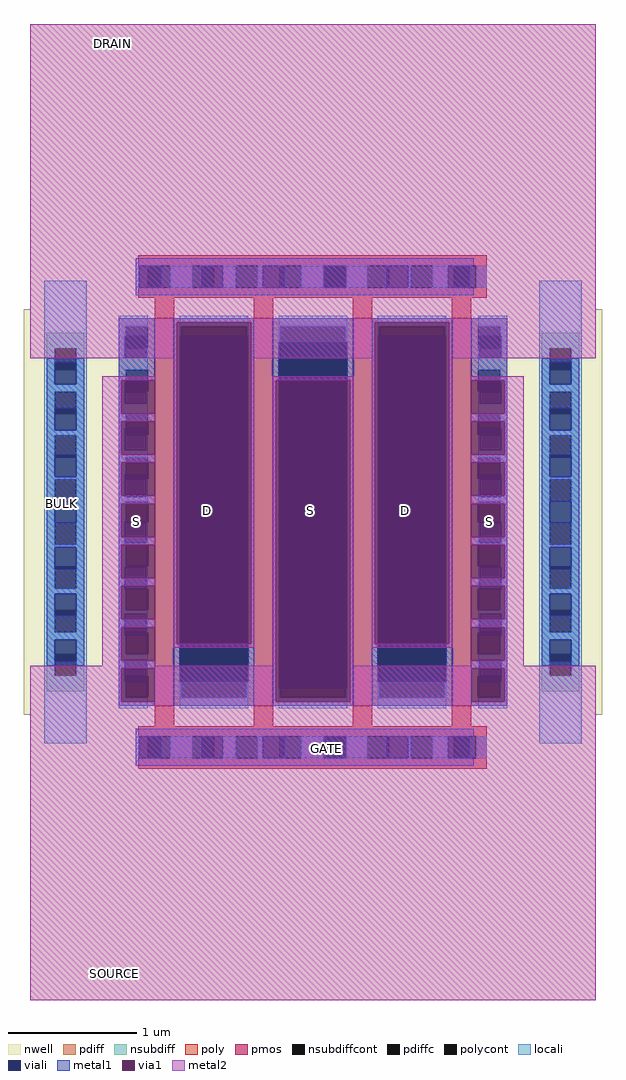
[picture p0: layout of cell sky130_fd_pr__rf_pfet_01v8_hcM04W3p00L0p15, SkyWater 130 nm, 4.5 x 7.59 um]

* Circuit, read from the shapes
.subckt sky130_fd_pr__rf_pfet_01v8_hcM04W3p00L0p15 BULK DRAIN GATE SOURCE
XM1 DRAIN GATE SOURCE BULK sky130_fd_pr__pfet_01v8 w=3.01 l=0.15 m=4
.ends

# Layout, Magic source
magic
tech sky130A
magscale 1 2
<< nwell >>
rect 0 1074 880 1518
rect -10 444 890 1074
rect 0 0 880 444
<< pmos >>
rect 194 458 224 1060
rect 348 458 378 1060
rect 502 458 532 1060
rect 656 458 686 1060
<< pdiff >>
rect 138 1048 194 1060
rect 138 1014 149 1048
rect 183 1014 194 1048
rect 138 980 194 1014
rect 138 946 149 980
rect 183 946 194 980
rect 138 912 194 946
rect 138 878 149 912
rect 183 878 194 912
rect 138 844 194 878
rect 138 810 149 844
rect 183 810 194 844
rect 138 776 194 810
rect 138 742 149 776
rect 183 742 194 776
rect 138 708 194 742
rect 138 674 149 708
rect 183 674 194 708
rect 138 640 194 674
rect 138 606 149 640
rect 183 606 194 640
rect 138 572 194 606
rect 138 538 149 572
rect 183 538 194 572
rect 138 504 194 538
rect 138 470 149 504
rect 183 470 194 504
rect 138 458 194 470
rect 224 1048 348 1060
rect 224 470 235 1048
rect 337 470 348 1048
rect 224 458 348 470
rect 378 1048 502 1060
rect 378 470 389 1048
rect 491 470 502 1048
rect 378 458 502 470
rect 532 1048 656 1060
rect 532 470 543 1048
rect 645 470 656 1048
rect 532 458 656 470
rect 686 1048 742 1060
rect 686 1014 697 1048
rect 731 1014 742 1048
rect 686 980 742 1014
rect 686 946 697 980
rect 731 946 742 980
rect 686 912 742 946
rect 686 878 697 912
rect 731 878 742 912
rect 686 844 742 878
rect 686 810 697 844
rect 731 810 742 844
rect 686 776 742 810
rect 686 742 697 776
rect 731 742 742 776
rect 686 708 742 742
rect 686 674 697 708
rect 731 674 742 708
rect 686 640 742 674
rect 686 606 697 640
rect 731 606 742 640
rect 686 572 742 606
rect 686 538 697 572
rect 731 538 742 572
rect 686 504 742 538
rect 686 470 697 504
rect 731 470 742 504
rect 686 458 742 470
<< pdiffc >>
rect 149 1014 183 1048
rect 149 946 183 980
rect 149 878 183 912
rect 149 810 183 844
rect 149 742 183 776
rect 149 674 183 708
rect 149 606 183 640
rect 149 538 183 572
rect 149 470 183 504
rect 235 470 337 1048
rect 389 470 491 1048
rect 543 470 645 1048
rect 697 1014 731 1048
rect 697 946 731 980
rect 697 878 731 912
rect 697 810 731 844
rect 697 742 731 776
rect 697 674 731 708
rect 697 606 731 640
rect 697 538 731 572
rect 697 470 731 504
<< nsubdiff >>
rect 26 1014 84 1038
rect 26 980 38 1014
rect 72 980 84 1014
rect 26 946 84 980
rect 26 912 38 946
rect 72 912 84 946
rect 26 878 84 912
rect 26 844 38 878
rect 72 844 84 878
rect 26 810 84 844
rect 26 776 38 810
rect 72 776 84 810
rect 26 742 84 776
rect 26 708 38 742
rect 72 708 84 742
rect 26 674 84 708
rect 26 640 38 674
rect 72 640 84 674
rect 26 606 84 640
rect 26 572 38 606
rect 72 572 84 606
rect 26 538 84 572
rect 26 504 38 538
rect 72 504 84 538
rect 26 480 84 504
rect 796 1014 854 1038
rect 796 980 808 1014
rect 842 980 854 1014
rect 796 946 854 980
rect 796 912 808 946
rect 842 912 854 946
rect 796 878 854 912
rect 796 844 808 878
rect 842 844 854 878
rect 796 810 854 844
rect 796 776 808 810
rect 842 776 854 810
rect 796 742 854 776
rect 796 708 808 742
rect 842 708 854 742
rect 796 674 854 708
rect 796 640 808 674
rect 842 640 854 674
rect 796 606 854 640
rect 796 572 808 606
rect 842 572 854 606
rect 796 538 854 572
rect 796 504 808 538
rect 842 504 854 538
rect 796 480 854 504
<< nsubdiffcont >>
rect 38 980 72 1014
rect 38 912 72 946
rect 38 844 72 878
rect 38 776 72 810
rect 38 708 72 742
rect 38 640 72 674
rect 38 572 72 606
rect 38 504 72 538
rect 808 980 842 1014
rect 808 912 842 946
rect 808 844 842 878
rect 808 776 842 810
rect 808 708 842 742
rect 808 640 842 674
rect 808 572 842 606
rect 808 504 842 538
<< poly >>
rect 168 1142 710 1158
rect 168 1108 184 1142
rect 218 1108 252 1142
rect 286 1108 320 1142
rect 354 1108 388 1142
rect 422 1108 456 1142
rect 490 1108 524 1142
rect 558 1108 592 1142
rect 626 1108 660 1142
rect 694 1108 710 1142
rect 168 1092 710 1108
rect 194 1060 224 1092
rect 348 1060 378 1092
rect 502 1060 532 1092
rect 656 1060 686 1092
rect 194 426 224 458
rect 348 426 378 458
rect 502 426 532 458
rect 656 426 686 458
rect 168 410 710 426
rect 168 376 184 410
rect 218 376 252 410
rect 286 376 320 410
rect 354 376 388 410
rect 422 376 456 410
rect 490 376 524 410
rect 558 376 592 410
rect 626 376 660 410
rect 694 376 710 410
rect 168 360 710 376
<< polycont >>
rect 184 1108 218 1142
rect 252 1108 286 1142
rect 320 1108 354 1142
rect 388 1108 422 1142
rect 456 1108 490 1142
rect 524 1108 558 1142
rect 592 1108 626 1142
rect 660 1108 694 1142
rect 184 376 218 410
rect 252 376 286 410
rect 320 376 354 410
rect 388 376 422 410
rect 456 376 490 410
rect 524 376 558 410
rect 592 376 626 410
rect 660 376 694 410
<< locali >>
rect 22 1014 88 1119
rect 168 1108 170 1142
rect 218 1108 252 1142
rect 300 1108 320 1142
rect 354 1108 362 1142
rect 422 1108 456 1142
rect 492 1108 524 1142
rect 588 1108 592 1142
rect 626 1108 650 1142
rect 694 1108 710 1142
rect 22 958 38 1014
rect 72 958 88 1014
rect 22 946 88 958
rect 22 886 38 946
rect 72 886 88 946
rect 22 878 88 886
rect 22 814 38 878
rect 72 814 88 878
rect 22 810 88 814
rect 22 708 38 810
rect 72 708 88 810
rect 22 704 88 708
rect 22 640 38 704
rect 72 640 88 704
rect 22 632 88 640
rect 22 572 38 632
rect 72 572 88 632
rect 22 560 88 572
rect 22 504 38 560
rect 72 504 88 560
rect 22 399 88 504
rect 138 1048 183 1064
rect 138 1033 149 1048
rect 138 999 147 1033
rect 181 999 183 1014
rect 138 980 183 999
rect 138 961 149 980
rect 138 927 147 961
rect 181 927 183 946
rect 138 912 183 927
rect 138 889 149 912
rect 138 855 147 889
rect 181 855 183 878
rect 138 844 183 855
rect 138 817 149 844
rect 138 783 147 817
rect 181 783 183 810
rect 138 776 183 783
rect 138 745 149 776
rect 138 711 147 745
rect 181 711 183 742
rect 138 708 183 711
rect 138 674 149 708
rect 138 673 183 674
rect 138 639 147 673
rect 181 640 183 673
rect 138 606 149 639
rect 138 601 183 606
rect 138 567 147 601
rect 181 572 183 601
rect 138 538 149 567
rect 138 529 183 538
rect 138 495 147 529
rect 181 504 183 529
rect 138 470 149 495
rect 138 454 183 470
rect 233 1048 339 1064
rect 233 1033 235 1048
rect 337 1033 339 1048
rect 233 470 235 495
rect 337 470 339 495
rect 233 454 339 470
rect 387 1048 493 1064
rect 387 1023 389 1048
rect 491 1023 493 1048
rect 387 470 389 485
rect 491 470 493 485
rect 387 454 493 470
rect 541 1048 647 1064
rect 541 1033 543 1048
rect 645 1033 647 1048
rect 541 470 543 495
rect 645 470 647 495
rect 541 454 647 470
rect 697 1048 742 1064
rect 731 1033 742 1048
rect 697 999 699 1014
rect 733 999 742 1033
rect 697 980 742 999
rect 731 961 742 980
rect 697 927 699 946
rect 733 927 742 961
rect 697 912 742 927
rect 731 889 742 912
rect 697 855 699 878
rect 733 855 742 889
rect 697 844 742 855
rect 731 817 742 844
rect 697 783 699 810
rect 733 783 742 817
rect 697 776 742 783
rect 731 745 742 776
rect 697 711 699 742
rect 733 711 742 745
rect 697 708 742 711
rect 731 674 742 708
rect 697 673 742 674
rect 697 640 699 673
rect 733 639 742 673
rect 731 606 742 639
rect 697 601 742 606
rect 697 572 699 601
rect 733 567 742 601
rect 731 538 742 567
rect 697 529 742 538
rect 697 504 699 529
rect 733 495 742 529
rect 731 470 742 495
rect 697 454 742 470
rect 792 1014 858 1119
rect 792 958 808 1014
rect 842 958 858 1014
rect 792 946 858 958
rect 792 886 808 946
rect 842 886 858 946
rect 792 878 858 886
rect 792 814 808 878
rect 842 814 858 878
rect 792 810 858 814
rect 792 708 808 810
rect 842 708 858 810
rect 792 704 858 708
rect 792 640 808 704
rect 842 640 858 704
rect 792 632 858 640
rect 792 572 808 632
rect 842 572 858 632
rect 792 560 858 572
rect 792 504 808 560
rect 842 504 858 560
rect 168 376 170 410
rect 218 376 252 410
rect 300 376 320 410
rect 354 376 362 410
rect 422 376 456 410
rect 492 376 524 410
rect 588 376 592 410
rect 626 376 650 410
rect 694 376 710 410
rect 792 399 858 504
<< viali >>
rect 170 1108 184 1142
rect 184 1108 204 1142
rect 266 1108 286 1142
rect 286 1108 300 1142
rect 362 1108 388 1142
rect 388 1108 396 1142
rect 458 1108 490 1142
rect 490 1108 492 1142
rect 554 1108 558 1142
rect 558 1108 588 1142
rect 650 1108 660 1142
rect 660 1108 684 1142
rect 38 980 72 992
rect 38 958 72 980
rect 38 912 72 920
rect 38 886 72 912
rect 38 844 72 848
rect 38 814 72 844
rect 38 742 72 776
rect 38 674 72 704
rect 38 670 72 674
rect 38 606 72 632
rect 38 598 72 606
rect 38 538 72 560
rect 38 526 72 538
rect 147 1014 149 1033
rect 149 1014 181 1033
rect 147 999 181 1014
rect 147 946 149 961
rect 149 946 181 961
rect 147 927 181 946
rect 147 878 149 889
rect 149 878 181 889
rect 147 855 181 878
rect 147 810 149 817
rect 149 810 181 817
rect 147 783 181 810
rect 147 742 149 745
rect 149 742 181 745
rect 147 711 181 742
rect 147 640 181 673
rect 147 639 149 640
rect 149 639 181 640
rect 147 572 181 601
rect 147 567 149 572
rect 149 567 181 572
rect 147 504 181 529
rect 147 495 149 504
rect 149 495 181 504
rect 233 495 235 1033
rect 235 495 337 1033
rect 337 495 339 1033
rect 387 485 389 1023
rect 389 485 491 1023
rect 491 485 493 1023
rect 541 495 543 1033
rect 543 495 645 1033
rect 645 495 647 1033
rect 699 1014 731 1033
rect 731 1014 733 1033
rect 699 999 733 1014
rect 699 946 731 961
rect 731 946 733 961
rect 699 927 733 946
rect 699 878 731 889
rect 731 878 733 889
rect 699 855 733 878
rect 699 810 731 817
rect 731 810 733 817
rect 699 783 733 810
rect 699 742 731 745
rect 731 742 733 745
rect 699 711 733 742
rect 699 640 733 673
rect 699 639 731 640
rect 731 639 733 640
rect 699 572 733 601
rect 699 567 731 572
rect 731 567 733 572
rect 699 504 733 529
rect 699 495 731 504
rect 731 495 733 504
rect 808 980 842 992
rect 808 958 842 980
rect 808 912 842 920
rect 808 886 842 912
rect 808 844 842 848
rect 808 814 842 844
rect 808 742 842 776
rect 808 674 842 704
rect 808 670 842 674
rect 808 606 842 632
rect 808 598 842 606
rect 808 538 842 560
rect 808 526 842 538
rect 170 376 184 410
rect 184 376 204 410
rect 266 376 286 410
rect 286 376 300 410
rect 362 376 388 410
rect 388 376 396 410
rect 458 376 490 410
rect 490 376 492 410
rect 554 376 558 410
rect 558 376 588 410
rect 650 376 660 410
rect 660 376 684 410
<< metal1 >>
rect 164 1142 690 1154
rect 164 1108 170 1142
rect 204 1108 266 1142
rect 300 1108 362 1142
rect 396 1108 458 1142
rect 492 1108 554 1142
rect 588 1108 650 1142
rect 684 1108 690 1142
rect 164 1096 690 1108
rect 138 1033 194 1060
rect 138 999 147 1033
rect 181 999 194 1033
rect 26 992 84 998
rect 26 958 38 992
rect 72 958 84 992
rect 26 920 84 958
rect 26 886 38 920
rect 72 886 84 920
rect 26 848 84 886
rect 26 814 38 848
rect 72 814 84 848
rect 26 776 84 814
rect 26 742 38 776
rect 72 742 84 776
rect 26 704 84 742
rect 26 670 38 704
rect 72 670 84 704
rect 26 632 84 670
rect 26 598 38 632
rect 72 598 84 632
rect 26 560 84 598
rect 26 526 38 560
rect 72 526 84 560
rect 26 520 84 526
rect 138 964 194 999
rect 138 912 142 964
rect 138 900 194 912
rect 138 848 142 900
rect 138 836 194 848
rect 138 784 142 836
rect 138 783 147 784
rect 181 783 194 784
rect 138 772 194 783
rect 138 720 142 772
rect 138 711 147 720
rect 181 711 194 720
rect 138 708 194 711
rect 138 656 142 708
rect 138 644 147 656
rect 181 644 194 656
rect 138 592 142 644
rect 138 580 147 592
rect 181 580 194 592
rect 138 528 142 580
rect 138 516 147 528
rect 181 516 194 528
rect 138 464 142 516
rect 138 458 194 464
rect 223 1054 349 1060
rect 223 554 228 1054
rect 344 554 349 1054
rect 223 495 233 554
rect 339 495 349 554
rect 223 458 349 495
rect 377 1023 503 1060
rect 377 964 387 1023
rect 493 964 503 1023
rect 377 464 382 964
rect 498 464 503 964
rect 377 458 503 464
rect 531 1054 657 1060
rect 531 554 536 1054
rect 652 554 657 1054
rect 531 495 541 554
rect 647 495 657 554
rect 531 458 657 495
rect 686 1033 742 1060
rect 686 999 699 1033
rect 733 999 742 1033
rect 686 964 742 999
rect 738 912 742 964
rect 686 900 742 912
rect 738 848 742 900
rect 686 836 742 848
rect 738 784 742 836
rect 686 783 699 784
rect 733 783 742 784
rect 686 772 742 783
rect 738 720 742 772
rect 686 711 699 720
rect 733 711 742 720
rect 686 708 742 711
rect 738 656 742 708
rect 686 644 699 656
rect 733 644 742 656
rect 738 592 742 644
rect 686 580 699 592
rect 733 580 742 592
rect 738 528 742 580
rect 686 516 699 528
rect 733 516 742 528
rect 796 992 854 998
rect 796 958 808 992
rect 842 958 854 992
rect 796 920 854 958
rect 796 886 808 920
rect 842 886 854 920
rect 796 848 854 886
rect 796 814 808 848
rect 842 814 854 848
rect 796 776 854 814
rect 796 742 808 776
rect 842 742 854 776
rect 796 704 854 742
rect 796 670 808 704
rect 842 670 854 704
rect 796 632 854 670
rect 796 598 808 632
rect 842 598 854 632
rect 796 560 854 598
rect 796 526 808 560
rect 842 526 854 560
rect 796 520 854 526
rect 738 464 742 516
rect 686 458 742 464
rect 164 410 690 422
rect 164 376 170 410
rect 204 376 266 410
rect 300 376 362 410
rect 396 376 458 410
rect 492 376 554 410
rect 588 376 650 410
rect 684 376 690 410
rect 164 364 690 376
<< via1 >>
rect 142 961 194 964
rect 142 927 147 961
rect 147 927 181 961
rect 181 927 194 961
rect 142 912 194 927
rect 142 889 194 900
rect 142 855 147 889
rect 147 855 181 889
rect 181 855 194 889
rect 142 848 194 855
rect 142 817 194 836
rect 142 784 147 817
rect 147 784 181 817
rect 181 784 194 817
rect 142 745 194 772
rect 142 720 147 745
rect 147 720 181 745
rect 181 720 194 745
rect 142 673 194 708
rect 142 656 147 673
rect 147 656 181 673
rect 181 656 194 673
rect 142 639 147 644
rect 147 639 181 644
rect 181 639 194 644
rect 142 601 194 639
rect 142 592 147 601
rect 147 592 181 601
rect 181 592 194 601
rect 142 567 147 580
rect 147 567 181 580
rect 181 567 194 580
rect 142 529 194 567
rect 142 528 147 529
rect 147 528 181 529
rect 181 528 194 529
rect 142 495 147 516
rect 147 495 181 516
rect 181 495 194 516
rect 142 464 194 495
rect 228 1033 344 1054
rect 228 554 233 1033
rect 233 554 339 1033
rect 339 554 344 1033
rect 382 485 387 964
rect 387 485 493 964
rect 493 485 498 964
rect 382 464 498 485
rect 536 1033 652 1054
rect 536 554 541 1033
rect 541 554 647 1033
rect 647 554 652 1033
rect 686 961 738 964
rect 686 927 699 961
rect 699 927 733 961
rect 733 927 738 961
rect 686 912 738 927
rect 686 889 738 900
rect 686 855 699 889
rect 699 855 733 889
rect 733 855 738 889
rect 686 848 738 855
rect 686 817 738 836
rect 686 784 699 817
rect 699 784 733 817
rect 733 784 738 817
rect 686 745 738 772
rect 686 720 699 745
rect 699 720 733 745
rect 733 720 738 745
rect 686 673 738 708
rect 686 656 699 673
rect 699 656 733 673
rect 733 656 738 673
rect 686 639 699 644
rect 699 639 733 644
rect 733 639 738 644
rect 686 601 738 639
rect 686 592 699 601
rect 699 592 733 601
rect 733 592 738 601
rect 686 567 699 580
rect 699 567 733 580
rect 733 567 738 580
rect 686 529 738 567
rect 686 528 699 529
rect 699 528 733 529
rect 733 528 738 529
rect 686 495 699 516
rect 699 495 733 516
rect 733 495 738 516
rect 686 464 738 495
<< metal2 >>
rect 0 1054 880 1518
rect 0 998 228 1054
rect 112 964 194 970
rect 112 912 142 964
rect 112 900 194 912
rect 112 848 142 900
rect 112 836 194 848
rect 112 784 142 836
rect 112 772 194 784
rect 112 720 142 772
rect 112 708 194 720
rect 112 656 142 708
rect 112 644 194 656
rect 112 592 142 644
rect 112 580 194 592
rect 112 528 142 580
rect 223 554 228 998
rect 344 998 536 1054
rect 344 554 349 998
rect 223 548 349 554
rect 377 964 503 970
rect 112 520 194 528
rect 377 520 382 964
rect 0 516 382 520
rect 0 464 142 516
rect 194 464 382 516
rect 498 520 503 964
rect 531 554 536 998
rect 652 998 880 1054
rect 652 554 657 998
rect 531 548 657 554
rect 686 964 768 970
rect 738 912 768 964
rect 686 900 768 912
rect 738 848 768 900
rect 686 836 768 848
rect 738 784 768 836
rect 686 772 768 784
rect 738 720 768 772
rect 686 708 768 720
rect 738 656 768 708
rect 686 644 768 656
rect 738 592 768 644
rect 686 580 768 592
rect 738 528 768 580
rect 686 520 768 528
rect 498 516 880 520
rect 498 464 686 516
rect 738 464 880 516
rect 0 0 880 464
<< labels >>
flabel comment s 584 762 584 762 0 FreeSans 300 0 0 0 D
flabel comment s 714 745 714 745 0 FreeSans 300 180 0 0 S
flabel comment s 436 762 436 762 0 FreeSans 300 0 0 0 S
flabel comment s 276 762 276 762 0 FreeSans 300 0 0 0 D
flabel comment s 166 745 166 745 0 FreeSans 300 0 0 0 S
flabel metal1 s 418 378 504 403 0 FreeSans 400 0 0 0 GATE
port 3 nsew
flabel metal1 s 36 738 62 805 0 FreeSans 400 90 0 0 BULK
port 1 nsew
flabel metal2 s 94 28 170 53 0 FreeSans 400 0 0 0 SOURCE
port 4 nsew
flabel metal2 s 84 1471 173 1503 0 FreeSans 400 0 0 0 DRAIN
port 2 nsew
<< properties >>
string GDS_FILE $PDKPATH/libs.ref/sky130_fd_pr/gds/sky130_fd_pr.gds
string GDS_END 9902690
string GDS_START 9880436
<< end >>
